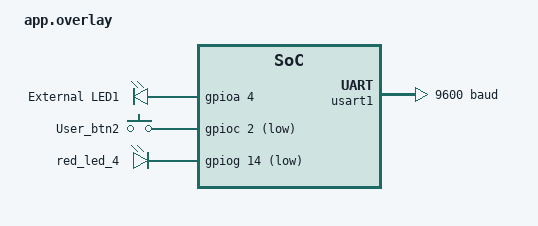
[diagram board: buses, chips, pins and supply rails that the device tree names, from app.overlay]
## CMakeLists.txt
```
#1. Declare minimum CMake version required to build this project
cmake_minimum_required(VERSION 3.20.0)

set(SIMULATION_MODE "OFF" CACHE STRING "Simulation mode: OFF, ON, or EMU")

if(SIMULATION_MODE STREQUAL "EMU")
    set(DTC_OVERLAY_FILE ${CMAKE_CURRENT_SOURCE_DIR}/app_emulation.overlay)
    set(BOARD qemu_cortex_m0)
    set(CONF_FILE ${CMAKE_CURRENT_SOURCE_DIR}/prj_emulation.conf)
elseif(SIMULATION_MODE STREQUAL "ON")
    set(DTC_OVERLAY_FILE ${CMAKE_CURRENT_SOURCE_DIR}/app_picsimlab.overlay)
    set(BOARD nucleo_f103rb)
    set(CONF_FILE ${CMAKE_CURRENT_SOURCE_DIR}/prj_picsimlab.conf)
else()
    set(DTC_OVERLAY_FILE ${CMAKE_CURRENT_SOURCE_DIR}/app.overlay)
    set(BOARD stm32f429i_disc1)
    set(CONF_FILE ${CMAKE_CURRENT_SOURCE_DIR}/prj.conf)
endif()

#2. Locate Zephyr build system as a CMake module
find_package(Zephyr REQUIRED HINTS $ENV{ZEPHYR_BASE})
#3. Name your project
project(Testing_IRQ)
#4. Tell Zephyr which source files to use
target_sources(app PRIVATE src/main.c)
#5. Add include directories
target_include_directories(app PRIVATE inc)
#6. Set properties for the executable target 'app'
```

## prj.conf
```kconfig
# CONFIG_STM32_BOARD=y
# CONFIG_STM32_PICSIMLAB=n

CONFIG_GPIO=y
CONFIG_DMA=y

# Debug Configuration
CONFIG_DEBUG=y
CONFIG_DEBUG_OPTIMIZATIONS=y
CONFIG_SYMTAB=n

# Console for debug output
CONFIG_CONSOLE=y
CONFIG_UART_CONSOLE=y
CONFIG_SERIAL=y
CONFIG_PRINTK=y
CONFIG_UART_ASYNC_API=y

# Optional: Enable debug thread info
CONFIG_DEBUG_THREAD_INFO=y
CONFIG_THREAD_MONITOR=y
CONFIG_THREAD_NAME=y

# Enable time slicing for threads
CONFIG_TIMESLICING=y

# Set the time slice duration (in milliseconds)
CONFIG_TIMESLICE_SIZE=10

# Time slice priority threshold
CONFIG_TIMESLICE_PRIORITY=1

# Set maximum number of preempt priorities
CONFIG_NUM_PREEMPT_PRIORITIES=127

# Set cooperative thread priorities
CONFIG_NUM_COOP_PRIORITIES=128
```

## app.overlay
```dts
&usart1 {
    current-speed = <9600>;
    interrupts = <37 2>;
    dmas = <&dma2 7 4 0x28440 0x03>,
           <&dma2 2 4 0x28480 0x03>;
    dma-names = "tx", "rx";
};
&red_led_4 {
    gpios = <&gpiog 14 GPIO_ACTIVE_LOW>;
};
/ {
    aliases {
        led1 = &red_led_4;
        led2 = &custom_led1;
        stlink-uart = &usart1;
    };

    leds {
        compatible = "gpio-leds";        

        custom_led1: custom_led1 {
            label = "External LED1";
            gpios = <&gpioa 4 0>;
        };        
    };

	gpio_keys {
		compatible = "gpio-keys";

		button2: button2{
			label = "User_btn2";
			gpios = <&gpioc 2 GPIO_ACTIVE_LOW>;
			zephyr,code = <INPUT_KEY_0>;
		};
	};    

};
```

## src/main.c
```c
/*
 * Copyright (c) 2022 Libre Solar Technologies GmbH
 *
 * SPDX-License-Identifier: Apache-2.0
 */

#include <zephyr/kernel.h>
#include <zephyr/sys/printk.h>
#include <zephyr/device.h>
#include <zephyr/drivers/uart.h>
#include <errno.h>

#include <string.h>

/* change this to any other UART peripheral if desired */
#define UART_DEVICE_NODE  DT_NODELABEL(usart1)//DT_CHOSEN(zephyr_shell_uart)

#define MSG_SIZE 32

/* queue to store up to 10 messages (aligned to 4-byte boundary) */
K_MSGQ_DEFINE(uart_msgq, MSG_SIZE, 10, 4);

static const struct device *const uart_dev = DEVICE_DT_GET(UART_DEVICE_NODE);

/* receive buffer used in UART ISR callback */
static char rx_buf[MSG_SIZE];
static char tx_buf[MSG_SIZE];


/*
 * Read characters from UART until line end is detected. Afterwards push the
 * data to the message queue.
 */
void serial_cb_async(const struct device *dev, struct uart_event *evt, void *user_data);

/*
 * Print a null-terminated string character by character to the UART interface
 */

void print_uart(char *buf);

int main(void)
{
	volatile int ret = 0;

	ret = device_is_ready(uart_dev);
	if (ret < 0) {
		printk("UART device not found!: %d\n", ret);
		return 0;
	}
	ret = 0;
	ret = uart_callback_set(uart_dev, serial_cb_async, NULL);
	if(ret != 0)
	{
		printk("Failed to set UART callback: %d\n", ret);
		return -1;
	}
	ret = 0;
	ret = uart_rx_enable(uart_dev, rx_buf, sizeof(rx_buf), SYS_FOREVER_US);
	if(ret != 0)
	{
		if (ret < 0) {
			if (ret == -ENOTSUP) {
				printk("Interrupt-driven UART API support not enabled\n");
			} else if (ret == -ENOSYS) {
				printk("UART device does not support interrupt-driven API\n");
			} else {
				printk("Error setting UART callback: %d\n", ret);
			}
		}		
	}

	print_uart("Hello! I'm your echo bot.\n");
	print_uart("Tell me something and press enter:\n");

	/* indefinitely wait for input from the user */
	while (k_msgq_get(&uart_msgq, &tx_buf[0], K_FOREVER) == 0) {
		print_uart("Echo: ");
		print_uart(tx_buf);
		print_uart("\r\n");
	}
	return 0;
}

void print_uart(char *buf)
{
	int msg_len = strlen(buf);
	uart_tx(uart_dev, buf, msg_len, SYS_FOREVER_US);
}

void serial_cb_async(const struct device *dev, struct uart_event *evt, void *user_data)
{
	/* Program the callback handler to perform line buffering based on \n or \r
	*/
	switch(evt->type)
	{
		case UART_RX_RDY:
		{
			uint8_t rx_len = evt->data.rx.len;
			uint8_t rx_offset = evt->data.rx.offset;
			for(uint8_t idx = rx_offset; idx < (rx_offset + rx_len); idx++)
			{
				if(evt->data.rx.buf[idx] == '\r' || evt->data.rx.buf[idx] == '\n')
				{
					evt->data.rx.buf[idx] = '\0';
					k_msgq_put(&uart_msgq, evt->data.rx.buf, K_FOREVER);
					break;
				}
			}
		}
		break;
		case UART_TX_DONE:
		{
			/* Transmission is complete */
			printk("UART TX Done\n");
		}
		break;
		case UART_RX_STOPPED:
		{
			/* Reception stopped */
			printk("UART RX Stopped\n");
			uart_rx_enable(uart_dev, rx_buf, sizeof(rx_buf), SYS_FOREVER_US);
		}
		break;
	}
}
```
